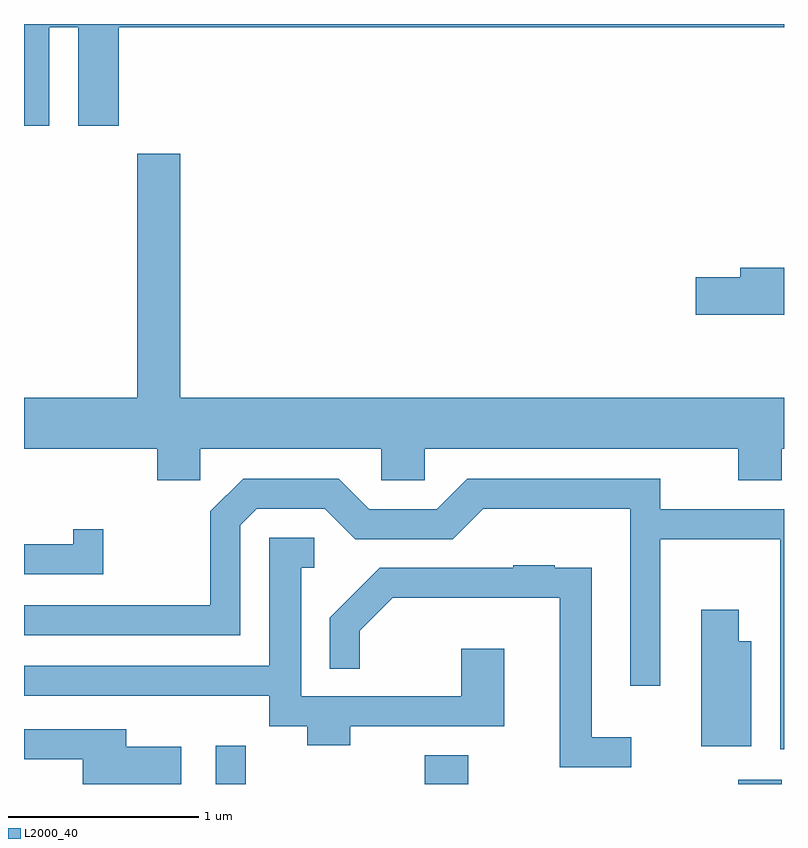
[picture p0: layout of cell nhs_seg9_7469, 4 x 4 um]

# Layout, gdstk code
import gdstk
lib = gdstk.Library(unit=1e-6, precision=1e-09)
def R(c, l, rs):  # rectangles x0, y0, x1, y1
    for r in rs: c.add(gdstk.rectangle(r[:2], r[2:], *l))
def P(c, l, *ps):  # polygons
    for p in ps: c.add(gdstk.Polygon(p, *l))
L2000_40 = (2000, 40)

nhs_seg9_7469 = lib.new_cell('nhs_seg9_7469')
R(nhs_seg9_7469, L2000_40, [(406.621,2054.432,406.779,2054.633), (407.721,2054.432,407.949,2054.584), (409.371,2054.432,409.599,2054.454)])
P(nhs_seg9_7469, L2000_40, [(405.744,2058.416),(405.896,2058.416),(405.896,2057.896),(406.109,2057.896),(406.109,2058.416),(409.611,2058.416),(409.611,2058.432),(405.611,2058.432),(405.611,2057.896),(405.744,2057.896)],
  [(406.539,2056.196),(407.491,2056.196),(407.491,2056.031),(407.719,2056.031),(407.719,2056.196),(409.371,2056.196),(409.371,2056.031),(409.599,2056.031),(409.599,2056.196),(409.611,2056.196),(409.611,2056.464),(406.434,2056.464),(406.434,2057.749),(406.206,2057.749),(406.206,2056.464),(405.611,2056.464),(405.611,2056.196),(406.311,2056.196),(406.311,2056.031),(406.539,2056.031)],
  [(409.611,2057.149),(409.381,2057.149),(409.381,2057.099),(409.146,2057.099),(409.146,2056.901),(409.611,2056.901)],
  [(409.611,2055.879),(408.959,2055.879),(408.959,2056.039),(407.944,2056.039),(407.784,2055.879),(407.427,2055.879),(407.267,2056.039),(406.764,2056.039),(406.591,2055.867),(406.591,2055.374),(405.611,2055.374),(405.611,2055.216),(406.749,2055.216),(406.749,2055.794),(406.837,2055.881),(407.194,2055.881),(407.354,2055.721),(407.867,2055.721),(408.027,2055.881),(408.801,2055.881),(408.801,2054.948),(408.959,2054.948),(408.959,2055.721),(409.591,2055.721),(409.591,2054.616),(409.611,2054.616)],
  [(406.029,2055.773),(405.871,2055.773),(405.871,2055.694),(405.611,2055.694),(405.611,2055.536),(406.029,2055.536)],
  [(407.329,2054.736),(408.139,2054.736),(408.139,2055.144),(407.911,2055.144),(407.911,2054.894),(407.069,2054.894),(407.069,2055.571),(407.138,2055.571),(407.138,2055.729),(406.901,2055.729),(406.901,2055.054),(405.611,2055.054),(405.611,2054.896),(406.901,2054.896),(406.901,2054.736),(407.101,2054.736),(407.101,2054.636),(407.329,2054.636)],
  [(408.808,2054.679),(408.599,2054.679),(408.599,2055.569),(408.405,2055.569),(408.405,2055.584),(408.185,2055.584),(408.185,2055.569),(407.484,2055.569),(407.221,2055.307),(407.221,2055.038),(407.379,2055.038),(407.379,2055.239),(407.552,2055.411),(408.431,2055.411),(408.431,2054.521),(408.808,2054.521)],
  [(409.439,2055.184),(409.374,2055.184),(409.374,2055.349),(409.176,2055.349),(409.176,2054.631),(409.439,2054.631)],
  [(406.439,2054.629),(406.149,2054.629),(406.149,2054.719),(405.611,2054.719),(405.611,2054.561),(405.921,2054.561),(405.921,2054.432),(406.439,2054.432)])

lib.write_gds('nhs_seg9_7469.gds')
